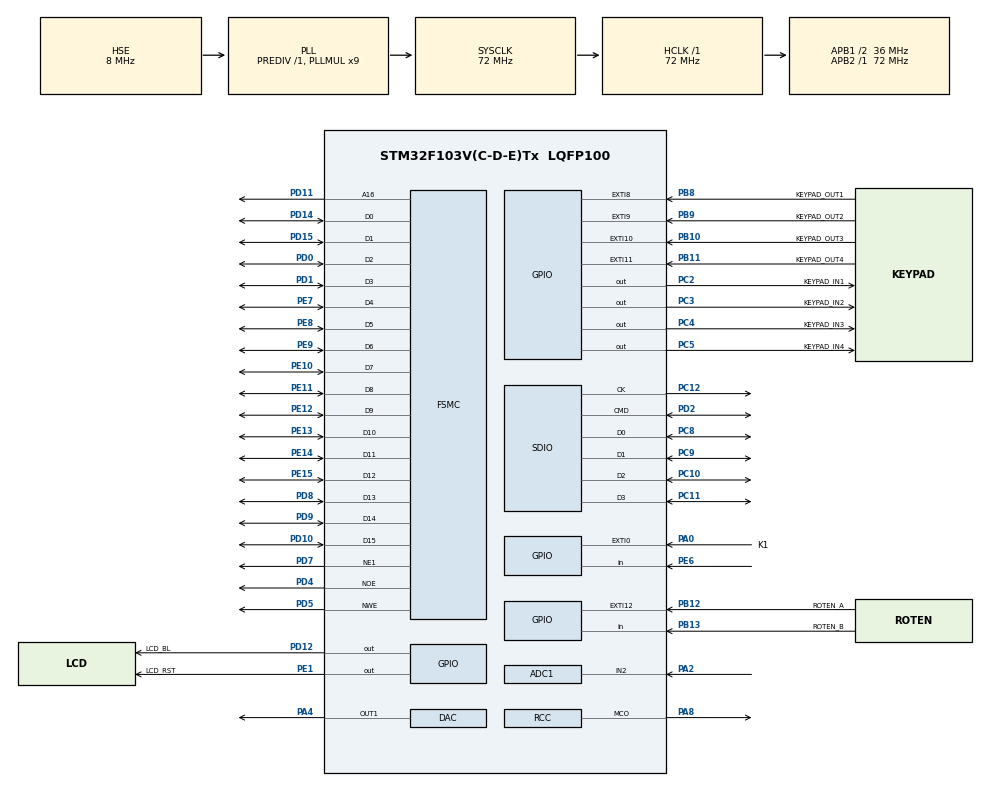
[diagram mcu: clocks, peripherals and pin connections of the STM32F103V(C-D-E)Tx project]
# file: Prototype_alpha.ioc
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ADC1.Channel-2\#ChannelRegularConversion=ADC_CHANNEL_2
ADC1.NbrOfConversionFlag=1
ADC1.Rank-2\#ChannelRegularConversion=1
ADC1.SamplingTime-2\#ChannelRegularConversion=ADC_SAMPLETIME_1CYCLE_5
ADC1.master=1
DAC.DAC_Trigger=DAC_TRIGGER_T6_TRGO
Dma.DAC_CH1.0.Direction=DMA_MEMORY_TO_PERIPH
Dma.DAC_CH1.0.Instance=DMA2_Channel3
Dma.DAC_CH1.0.MemDataAlignment=DMA_MDATAALIGN_HALFWORD
Dma.DAC_CH1.0.MemInc=DMA_MINC_ENABLE
Dma.DAC_CH1.0.Mode=DMA_NORMAL
Dma.DAC_CH1.0.PeriphDataAlignment=DMA_PDATAALIGN_HALFWORD
Dma.DAC_CH1.0.PeriphInc=DMA_PINC_DISABLE
Dma.DAC_CH1.0.Priority=DMA_PRIORITY_VERY_HIGH
Dma.Request0=DAC_CH1
FATFS.BSP.number=1
FATFS0.BSP.STBoard=false
FATFS0.BSP.api=Unknown
FATFS0.BSP.i2caddr=0
FATFS0.BSP.instance=PE6
FATFS0.BSP.ip=GPIO
FATFS0.BSP.mode=Input
FATFS0.BSP.name=Detect_SDIO
FATFS0.BSP.solution=PE6
Mcu.Family=STM32F1
Mcu.Name=STM32F103V(C-D-E)Tx
Mcu.Package=LQFP100
NVIC.DMA2_Channel3_IRQn=true\:0\:0\:false\:false\:true\:false\:true\:true
NVIC.EXTI0_IRQn=true\:0\:0\:false\:false\:true\:true\:true\:true
NVIC.EXTI15_10_IRQn=true\:0\:0\:false\:false\:true\:true\:true\:true
NVIC.EXTI9_5_IRQn=true\:0\:0\:false\:false\:true\:true\:true\:true
NVIC.PriorityGroup=NVIC_PRIORITYGROUP_4
NVIC.SDIO_IRQn=true\:0\:0\:false\:false\:true\:true\:true\:true
NVIC.TIM3_IRQn=true\:0\:0\:false\:false\:true\:true\:true\:true
NVIC.TIM6_IRQn=true\:0\:0\:false\:false\:true\:true\:true\:true
OSC_IN.Mode=HSE-External-Oscillator
OSC_IN.Signal=RCC_OSC_IN
OSC_OUT.Mode=HSE-External-Oscillator
OSC_OUT.Signal=RCC_OSC_OUT
PA0-WKUP.GPIO_Label=K1
PA0-WKUP.Signal=GPXTI0
PA13.Mode=Serial_Wire
PA13.Signal=SYS_JTMS-SWDIO
PA14.Mode=Serial_Wire
PA14.Signal=SYS_JTCK-SWCLK
PA2.Signal=ADCx_IN2
PA4.Signal=COMP_DAC1_group
PA8.Mode=Clock-out
PA8.Signal=RCC_MCO
PB10.GPIO_Label=KEYPAD_OUT3
PB10.Signal=GPXTI10
PB11.GPIO_Label=KEYPAD_OUT4
PB11.Signal=GPXTI11
PB12.GPIO_Label=ROTEN_A
PB12.GPIO_PuPd=GPIO_NOPULL
PB12.Signal=GPXTI12
PB13.GPIO_Label=ROTEN_B
PB13.Signal=GPIO_Input
PB8.GPIO_Label=KEYPAD_OUT1
PB8.Signal=GPXTI8
PB9.GPIO_Label=KEYPAD_OUT2
PB9.Signal=GPXTI9
PC10.Mode=SD_4_bits_Wide_bus
PC10.Signal=SDIO_D2
PC11.Mode=SD_4_bits_Wide_bus
PC11.Signal=SDIO_D3
PC12.Mode=SD_4_bits_Wide_bus
PC12.Signal=SDIO_CK
PC14-OSC32_IN.Mode=LSE-External-Oscillator
PC14-OSC32_IN.Signal=RCC_OSC32_IN
PC15-OSC32_OUT.Mode=LSE-External-Oscillator
PC15-OSC32_OUT.Signal=RCC_OSC32_OUT
PC2.GPIO_Label=KEYPAD_IN1
PC2.GPIO_Speed=GPIO_SPEED_FREQ_HIGH
PC2.PinState=GPIO_PIN_SET
PC2.Signal=GPIO_Output
PC3.GPIO_Label=KEYPAD_IN2
PC3.GPIO_Speed=GPIO_SPEED_FREQ_HIGH
PC3.PinState=GPIO_PIN_SET
PC3.Signal=GPIO_Output
PC4.GPIO_Label=KEYPAD_IN3
PC4.GPIO_Speed=GPIO_SPEED_FREQ_HIGH
PC4.PinState=GPIO_PIN_SET
PC4.Signal=GPIO_Output
PC5.GPIO_Label=KEYPAD_IN4
PC5.GPIO_Speed=GPIO_SPEED_FREQ_HIGH
PC5.PinState=GPIO_PIN_SET
PC5.Signal=GPIO_Output
PC8.Mode=SD_4_bits_Wide_bus
PC8.Signal=SDIO_D0
PC9.Mode=SD_4_bits_Wide_bus
PC9.Signal=SDIO_D1
PD0.Mode=16b-d1
PD0.Signal=FSMC_D2
PD1.Mode=16b-d1
PD1.Signal=FSMC_D3
PD10.Mode=16b-d1
PD10.Signal=FSMC_D15
PD11.Mode=A16_1
PD11.Signal=FSMC_A16
PD12.GPIO_Label=LCD_BL
PD12.GPIO_PuPd=GPIO_NOPULL
PD12.GPIO_Speed=GPIO_SPEED_FREQ_HIGH
PD12.Signal=GPIO_Output
PD14.Mode=16b-d1
PD14.Signal=FSMC_D0
PD15.Mode=16b-d1
PD15.Signal=FSMC_D1
PD2.Mode=SD_4_bits_Wide_bus
PD2.Signal=SDIO_CMD
PD4.Mode=Lcd1
PD4.Signal=FSMC_NOE
PD5.Mode=Lcd1
PD5.Signal=FSMC_NWE
PD7.Mode=NorPsramChipSelect1_1
PD7.Signal=FSMC_NE1
PD8.Mode=16b-d1
PD8.Signal=FSMC_D13
PD9.Mode=16b-d1
PD9.Signal=FSMC_D14
PE1.GPIO_Label=LCD_RST
PE1.GPIO_Speed=GPIO_SPEED_FREQ_HIGH
PE1.PinState=GPIO_PIN_RESET
PE1.Signal=GPIO_Output
PE10.Mode=16b-d1
PE10.Signal=FSMC_D7
PE11.Mode=16b-d1
PE11.Signal=FSMC_D8
PE12.Mode=16b-d1
PE12.Signal=FSMC_D9
PE13.Mode=16b-d1
PE13.Signal=FSMC_D10
PE14.Mode=16b-d1
PE14.Signal=FSMC_D11
PE15.Mode=16b-d1
PE15.Signal=FSMC_D12
PE6.GPIO_PuPd=GPIO_PULLDOWN
PE6.Signal=GPIO_Input
PE7.Mode=16b-d1
PE7.Signal=FSMC_D4
PE8.Mode=16b-d1
PE8.Signal=FSMC_D5
PE9.Mode=16b-d1
PE9.Signal=FSMC_D6
ProjectManager.HeapSize=0x200
ProjectManager.StackSize=0x400
ProjectManager.TargetToolchain=STM32CubeIDE
RCC.ADCPresc=RCC_ADCPCLK2_DIV6
RCC.AHBFreq_Value=72000000
RCC.APB1CLKDivider=RCC_HCLK_DIV2
RCC.APB1Freq_Value=36000000
RCC.APB1TimFreq_Value=72000000
RCC.APB2Freq_Value=72000000
RCC.APB2TimFreq_Value=72000000
RCC.HCLKFreq_Value=72000000
RCC.PLLMUL=RCC_PLL_MUL9
RCC.PLLSourceVirtual=RCC_PLLSOURCE_HSE
RCC.RCC_MCOSource=RCC_MCO1SOURCE_PLLCLK
RCC.SYSCLKFreq_VALUE=72000000
RCC.SYSCLKSource=RCC_SYSCLKSOURCE_PLLCLK
RCC.USBFreq_Value=72000000
SDIO.ClockDiv=16
SDIO.HardwareFlowControl=SDIO_HARDWARE_FLOW_CONTROL_DISABLE
SH.ADCx_IN2.0=ADC1_IN2,IN2
SH.COMP_DAC1_group.0=DAC_OUT1,DAC_OUT1
TIM2.Period=11999
TIM2.TIM_MasterOutputTrigger=TIM_TRGO_UPDATE
TIM2.TIM_MasterSlaveMode=TIM_MASTERSLAVEMODE_ENABLE
TIM3.AutoReloadPreload=TIM_AUTORELOAD_PRELOAD_ENABLE
TIM3.Period=99
TIM3.TIM_MasterOutputTrigger=TIM_TRGO_UPDATE
TIM6.Period=2999
TIM6.TIM_MasterOutputTrigger=TIM_TRGO_UPDATE
VP_FATFS_VS_SDIO.Mode=SDIO
VP_TIM2_VS_ClockSourceINT.Mode=Internal
VP_TIM3_VS_ClockSourceITR.Mode=TriggerSource_ITR1
VP_TIM3_VS_ControllerModeClock.Mode=Clock Mode
VP_TIM6_VS_ClockSourceINT.Mode=Enable_Timer
board=custom

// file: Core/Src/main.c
/* USER CODE BEGIN Header */
/**
  ******************************************************************************
  * @file           : main.c
  * @brief          : Main program body
  ******************************************************************************
  * @attention
  *
  * Copyright (c) 2023 STMicroelectronics.
  * All rights reserved.
  *
  * This software is licensed under terms that can be found in the LICENSE file
  * in the root directory of this software component.
  * If no LICENSE file comes with this software, it is provided AS-IS.
  *
  ******************************************************************************
  */
/* USER CODE END Header */
#include "main.h"
#include "fatfs.h"

/* USER CODE BEGIN Includes */
#include "stdio.h"
#include "string.h"
#include "lcd.h"
#include "gui.h"
#include "mariosfx.h"
#include <math.h>

struct WavHeader
{
	/* RIFF */
	char     riffChunkID[4];		// "RIFF"
	uint32_t riffChunkSize;			// (Size of whole file - 8) bytes, -8 for -(riffChunkID size + riffChunkSize size)
	char     riffFormat[4];			// "WAVE" should be in there for WAV file

	/* FORMAT */
	char     fmtChunkID[4];			// "FMT " *SPACE MUST BE INCLUDED IN THE END*
	uint32_t fmtChunkSize;			// (Size of FMT chunk - 8) bytes, -8 for (fmtChunkID size + fmtChunkSize size), should be 16
	uint16_t audioFmt;				// for PCM audio, 1, which is for WAV file
	uint16_t numChannels;			// number of channels of the audio
	uint32_t sampleRate;			// number of samples per a second, sampling frequency in Hz
	uint32_t byteRate;				// number of bytes for play per a second, (bitsPerSample * numChannels * sampleRate) bytes
	uint16_t blockAlign;			// size of samples per one set of channel play
	uint16_t bitsPerSample;			// sample size in bits

	/* DATA */
	char     dataChunkID[4];		// chunk ID tells computer the data chunk begins from here, "DATA"
	uint32_t dataChunkSize;			// size of actual audio wave data
};
/* USER CODE END Includes */

/* USER CODE BEGIN PM */
#define BUFFER_SIZE 		512

#define LCD_ERR_PAGE 		300
#define LCD_ERR_COLUMN 		0

#define PCM_AUDIO_FMT 		1

#define SYS_CLOCK 			72000000

/* SYSTEM ERROR CODES */
#define MOUNT_FAIL 			1
#define OPENDIR_FAIL 		2
#define NO_WAV_FOUND 		3
#define FILE_OPEN_FAIL 		4
#define HEADER_READ_FAIL 	5
#define RIFF_NOT_FOUND 		6
#define WRONG_AUDIOFMT 		7
#define DATA_NOT_FOUND 		8

/* USER CODE END PM */

 ADC_HandleTypeDef hadc1;

DAC_HandleTypeDef hdac;
DMA_HandleTypeDef hdma_dac_ch1;

SD_HandleTypeDef hsd;

TIM_HandleTypeDef htim2;
TIM_HandleTypeDef htim3;
TIM_HandleTypeDef htim6;

SRAM_HandleTypeDef hsram1;

/* USER CODE BEGIN PV */

/* KEYPAD */
GPIO_InitTypeDef 	GPIO_InitStructPrivate = {0};
uint8_t 			keyPressed = 0;
uint32_t 			currentTick;
uint32_t 			previousTick;

/* DMA */
uint8_t 			flag_dma_done;
static uint16_t 	dmaBuffer[2][BUFFER_SIZE];
static uint8_t 		dmaBufferIndexToUse = 0;

/* FILE I/O */
static uint8_t 		fileBuffer[BUFFER_SIZE];
UINT 				bytesRead;
uint32_t 			bytesRemained = 0;
uint32_t 			bytesRemainedMax;
FIL 				audioFile;
FIL 				sfxFile;
FATFS 				fatfs = {0};
FRESULT 			res;
DIR					dir;
FILINFO				fno;
char* 				filename;
uint32_t 			blockSize;

/* MAIN AUDIO CONTROL */
// Play & Pause //
uint8_t 			isMusicPlaying;

// Tempo Control //
uint8_t				tempoLevel = 5;
uint8_t				tempoLevelMax = 10;
float				tempoMultipliers[11] = {0.5f, 0.6f, 0.7f, 0.8f, 0.9f, 1.0f, 1.1f, 1.2f, 1.3f, 1.4f, 1.5f};
uint32_t 			originalSampleRate;

// Time Control //
uint8_t 			isMoveForward = 0;
uint8_t 			isMoveBackward = 0;
int16_t				timeShift = 0;
uint16_t			recentPin = 0;
uint32_t			audioLength;
uint32_t			audioCurrentTime;

// Filter Control //
uint8_t				isLPF = 0;
uint8_t				isHPF = 0;
uint8_t				filterFrequencyLevel = 7;
uint8_t				formerFreq = 7;
const uint8_t		filterFrequencyLevelMax = 15;
uint32_t			filterFrequencies[16] = {25, 50, 75, 100,
											 250, 500, 750, 1000,
											 2500, 5000, 7500, 10000,
											 12500, 15000, 17500, 20000};
double				alpha;
double				wc;
double				tau;

// SFX Control //
uint8_t 	isSFX = 0; // 0: OFF, 1: coin, 2: fireball, 3: kick, 4: stomp
uint8_t 	sfxBuffer[50000];
uint32_t 	sfxCounter = 0;
uint32_t 	sfxCounterMax;
uint8_t*	sfxPointer;

// Pitch Shift // jj
float Rd_P;
float Shift;
float MAX_SHIFT = 2.0f;
float MIN_SHIFT = 0.5;
/* USER CODE END PV */

void SystemClock_Config(void);
static void MX_GPIO_Init(void);
static void MX_SDIO_SD_Init(void);
static void MX_DMA_Init(void);
static void MX_FSMC_Init(void);
static void MX_DAC_Init(void);
static void MX_TIM6_Init(void);
static void MX_TIM2_Init(void);
static void MX_TIM3_Init(void);
static void MX_ADC1_Init(void);
/* USER CODE BEGIN PFP */
void SetSampleRate(uint32_t freq);
void ThrowSystemError(uint8_t errorCode);
/* USER CODE END PFP */

int main(void)
{

  /* MCU Configuration--------------------------------------------------------*/

  /* Reset of all peripherals, Initializes the Flash interface and the Systick. */
  HAL_Init();

  /* Configure the system clock */
  SystemClock_Config();

  /* Initialize all configured peripherals */
  MX_GPIO_Init();
  MX_SDIO_SD_Init();
  MX_DMA_Init();
  MX_FSMC_Init();
  MX_DAC_Init();
  MX_TIM6_Init();
  MX_FATFS_Init();
  MX_TIM2_Init();
  MX_TIM3_Init();
  MX_ADC1_Init();
  /* USER CODE BEGIN 2 */

  /* Peripheral Initialization */
  LCD_INIT();
  HAL_TIM_Base_Start(&htim6);
  HAL_DAC_Start(&hdac, DAC_CHANNEL_1);
  HAL_ADCEx_Calibration_Start(&hadc1);

  /* SD CARD Mount */
  res = f_mount(&fatfs, "", 1);
  if (res != FR_OK)
	  ThrowSystemError(MOUNT_FAIL);

  /* OPEN DIRECTORY */
  res = f_opendir(&dir, "");
  if (res != FR_OK)
	  ThrowSystemError(OPENDIR_FAIL);

  /* FIND WAV FILENAME */
  while(1)
  {
	  res = f_readdir(&dir, &fno);
	  if (res != FR_OK || fno.fname[0] == 0)
		  ThrowSystemError(NO_WAV_FOUND);

	  filename = fno.fname;
	  if ((strstr(filename, ".WAV") != 0) && (strcmp(filename, "SFX1.WAV") != 0))
		  break;
  }

  /* OPEN WAV FILE */
  res = f_open(&audioFile, filename, FA_READ);
  if (res != FR_OK)
	  ThrowSystemError(FILE_OPEN_FAIL);

  /* READ WAV HEADER */
  struct WavHeader header;
  res = f_read(&audioFile, &header, sizeof(struct WavHeader), &bytesRead);
  if (res != FR_OK)
	  ThrowSystemError(HEADER_READ_FAIL);

  /* CHECK WAV HEADER VALIDITY */
  if (strncmp(header.riffChunkID, "RIFF", 4) != 0) 	// 1. Check whether the header begins with "RIFF"
	  ThrowSystemError(RIFF_NOT_FOUND);

  if (header.audioFmt != PCM_AUDIO_FMT) 			// 2. Check whether the audio format is PCM
	  ThrowSystemError(WRONG_AUDIOFMT);

  if (strncmp(header.dataChunkID, "data", 4) != 0) 	// 3. check whether the data section begins with "data"
	  ThrowSystemError(DATA_NOT_FOUND);

  /* CALCULATE AUDIO LENGTH */
  audioLength = header.dataChunkSize / header.byteRate;
  audioCurrentTime = 0;

  /* Initialize Pitch Variables */
    Rd_P = 0.0;
    Shift = 1.0;

  /* INITIALIZE GUI */
  int32_t GUI_updateTick = HAL_GetTick();
  int32_t GUI_previousTick = HAL_GetTick();
  int32_t GUI_updatePeriod = 200;
  GUI_Init();
  GUI_SetPlaytime(audioCurrentTime, audioLength);
  GUI_SetFileName(filename);
  GUI_SetPlayStatus(MUSIC_PLAYING);
  GUI_SetTempo(tempoLevel, tempoLevelMax);
  GUI_SetPitch(Shift, MAX_SHIFT);

  /* SET AUDIO PLAYING FREQUENCY */
  SetSampleRate(header.sampleRate);
  originalSampleRate = header.sampleRate;

  /* CALCULATE CONSTANTS FOR FILTERS */
  wc = filterFrequencies[filterFrequencyLevel] * 2.0 * 3.141592; 	// 1. wc is angular cutting frequency of the filter
  tau = 1.0 / wc;													// 2. tau is time constant
  alpha = tau / (tau + (1.0 / originalSampleRate));					// 3. alpha is (tau / (tau + sampling time))
  	  	  	  	  	  	  	  	  	  	  	  	  	  	  	 	 	// (+) Filter Idea From: https://coding-robot.tistory.com/15

  /* INITIALIZE FILTER BUFFER */
  int32_t lpfBuffer = 0; 		// lpfBuffer contains result before one time.
  	  	  	  	  	  	  	  	// result[t] = alpha * result[t-1] + (1-alpha) * data[t]
  int32_t hpfBuffer[2] = {0,0};	// [0]: Result before one time [1]: Data before one time
  	  	  	  	  	  	  	  	// result[t] = alpha * (result[t-1] + data[t] - data[t-1])

  /* PLAY MUSIC */
  const uint8_t numChannels = (uint8_t)(header.numChannels);
  const uint8_t bytesPerSample = (uint8_t)(header.bitsPerSample / 8);

  // 0. Initialize variables
  flag_dma_done = 1; 					// DMA sets this flag to 1 if DMA usage is done
  dmaBufferIndexToUse = 0; 				// DMA buffer index for writing fileBuffer data. The other index DMA buffer is used for DMA transmission
  bytesRemained = header.dataChunkSize; // Remained size of data to play (in bytes)
  bytesRemainedMax = bytesRemained; 	// Total size of data section, used for preventing rewind below the point data begins
  isMusicPlaying = 1; 					// Music is now playing

  while(bytesRemained > 0)
  {
	  // 1. Calculate the size of block to load (in bytes)
	  blockSize = (bytesRemained < BUFFER_SIZE) ? bytesRemained : BUFFER_SIZE;

	  // 2. Load data to file buffer
	  res = f_read(&audioFile, fileBuffer, blockSize, &bytesRead);
	  if ((res != FR_OK) || (bytesRead == 0))
	  {
		  // YOU FAILED TO READ? TRY UNTIL IT SUCCESS!
		  while(res != FR_OK)
		  {
		  if (bytesRemained < BUFFER_SIZE*2)
			break;
		  DWORD audioFilePtr = f_tell(&audioFile);
		  f_close(&audioFile);
		  f_open(&audioFile, filename, FA_READ);
		  f_lseek(&audioFile, audioFilePtr);
		  res = f_read(&audioFile, fileBuffer, blockSize, &bytesRead);
		  }
	  }

	  // 3. Audio processing preparation
	  uint16_t numSamples = bytesRead / bytesPerSample / numChannels; 	// Total number of samples to process
	  int16_t* from = (int16_t*)fileBuffer; 							// from points to file buffer
	  uint16_t* to = dmaBuffer[dmaBufferIndexToUse]; 					// to points to dma buffer

	  // 4. Send audio data from file buffer to dma buffer
	  if (bytesPerSample == 1) // Case audio is 8-Bit
	  {
		  uint8_t* from8Bit = (uint8_t*)from; 	// from8Bit is a pointer to file buffer which reads 8-bit unsigned integer if *from8Bit is called.
		  for (int i = 0; i < numSamples; ++i)
		  {
			  uint16_t temp;
			  temp = *from8Bit; 		// (1) Get 8-bit unsigned data (The data of 8-bit WAV is unsigned)
			  temp = temp << 4; 		// (2) Change the data to 12-bit unsigned value by left arithmetic shift of 4
			  from8Bit += numChannels; 	// (3) Just the get the value of the first channel; skip the stereo channel data

			  // Pitch shift
			  Rd_P += Shift;
			  if (roundf(Rd_P) >= BUFFER_SIZE) Rd_P = 0.0f;

			  int RdPtr_Int = roundf(Rd_P);

			  int16_t Rd0 = ((*(fileBuffer + RdPtr_Int))<<4) - 2047;

			  temp = (Rd0) + 2047;

			  // Filter Processing //
			  int16_t tempSigned = (int16_t)temp; 									// Convert 12-bit data above in signed form, by giving -2047 offset
			  tempSigned -= 2047;

			  // Overwrite data by LPF value if LPF is on
			  if (isLPF)
			  {
				  double tempLPF = lpfBuffer * alpha + (1 - alpha) * tempSigned; 		// LPF calculation
				  lpfBuffer = (int32_t)tempLPF; 										// LPF buffer allocation

				  tempLPF += 2047;
				  temp = (uint16_t)tempLPF;
			  }
			  // Overwrite data by HPF value if HPF is on
			  else if (isHPF)
			  {
				  double tempHPF = alpha * (hpfBuffer[0] + tempSigned - hpfBuffer[1]);	// HPF calculation
				  hpfBuffer[0] = (int32_t)tempHPF; 										// HPF buffer allocation
				  hpfBuffer[1] = tempSigned;
				  tempHPF += 2047;
				  temp = (uint16_t)tempHPF;
			  }
			  // if sfx is on
			  if (isSFX)
			  {
				  if (sfxCounter > sfxCounterMax)
				  {
					  isSFX = 0;
					  sfxCounter = 0;
					  sfxPointer = 0;
				  }
				  else
				  {

					  int32_t sfxData = sfxPointer[sfxCounter];
					  sfxData = sfxData << 8;
					  sfxData = (tempSigned + sfxData);
					  sfxData += 32767;
					  sfxData = sfxData >> 4;
					  sfxData = sfxData & 0xfff;
					  sfxCounter++;

					  temp = (uint16_t)sfxData;

				  }
			  }

			  *to = temp; 				// (4) Send the modified 12-bit data (in (1) - (3)) to DMA buffer
			  to++;						// (5) 'to' now points to next element of DMA buffer
		  }
	  }
	  else // Case audio is 16-Bit
	  {
		  for (int i = 0; i < numSamples; ++i)
		  {
			 int32_t temp = *(from); 	// (1) Get 16 bit *signed* data (Range: -32767 ~ 32768) (The data of non 8-bit WAV is signed)
			 temp += 32767; 			// (2) Change data to 16 bit *unsigned* value by giving offset of +32767
			 temp = temp >> 4; 			// (3) Change data to *12-bit* unsigned value by removing 4 least significant bits
			 temp = temp & 0xfff; 		// (4) Just for insurance, set all the bits except for first 12-bit to be 0
			 from += numChannels; 		// (5) Just get the value of first channel; skip the stereo channel data

			// Filter System on 16-Bit is now on the progress //
			int32_t tempSigned = (int32_t)temp;
			tempSigned -= 2047;
			double tempLPF = lpfBuffer * alpha + (1 - alpha) * tempSigned;
			lpfBuffer = (int32_t)tempLPF;
			 if (isLPF)
			 {
				 tempLPF += 2047;
				 temp = (uint16_t)tempLPF;
			 }

			 *to = (uint16_t)temp; 		// (6) Send the modified 12-bit data (in (1) - (5)) to DMA buffer
			 to++;						// (7) 'to' now points to next element of DMA buffer
		  }
	  }
	  // 5. Wait until DMA, which is started in the previous loop, is done (When DMA is done, the DMA interrupt function changes flag to 0)
	  while(flag_dma_done == 0){};

	  // 6. If previous DMA is done, stop the DMA function for a new start
	  HAL_DAC_Stop_DMA(&hdac, DAC_CHANNEL_1);
	  flag_dma_done = 0;

	  // 7. If user paused music, wait until user play the music (isMusicPlaying is controlled by interrupt function)
	  while(!isMusicPlaying){};

	  // 8. Start DMA for the DMA buffer where new audio data is loaded in this loop
	  HAL_DAC_Start_DMA(&hdac, DAC_CHANNEL_1, (uint32_t*) dmaBuffer[dmaBufferIndexToUse], numSamples, DAC_ALIGN_12B_R);

	  // 9. Flip the dmaBufferIndexToUse (1 to 0 OR 0 to 1)
	  //    DMA Buffer section being used for DMA started above will not be used for loading data in the next loop.
	  dmaBufferIndexToUse = !dmaBufferIndexToUse;

	  // 10. As block size of data is read, reduce the bytesRemained
	  bytesRemained = bytesRemained - blockSize;

	  // 11. If user decided to move forward or backward, shift the file pointer
	  // isMoveForward and isMoveBackward is toggled by interrupt function
	  if (isMoveForward)
	  {
		  isMoveForward = 0;
		  bytesRemained -= 1024000;
	      f_lseek(&audioFile, f_tell(&audioFile) + 1024000); // 1024000 is just a notably big value to check time shift.
	  }
	  if (isMoveBackward)
	  {
		  isMoveBackward = 0;
		  bytesRemained += 1024000;
		  if (bytesRemained > bytesRemainedMax) // Prevent time backward shift below the point the music data begins
		  {
			  bytesRemained = bytesRemainedMax;
			  f_lseek(&audioFile, 1);
		  }
		  else
			  f_lseek(&audioFile, f_tell(&audioFile) - 1024000);
	  }
	  // Rotary Encoder Time Shift
	  if (timeShift != 0) {
		  bytesRemained -= (timeShift << 13);
		  if (bytesRemained > bytesRemainedMax) {
			  bytesRemained = bytesRemainedMax;
			  f_lseek(&audioFile, 1);
		  }
		  else
			  f_lseek(&audioFile, f_tell(&audioFile) + (timeShift << 13));
		  if (timeShift > 0)
			  timeShift--;
		  else
			  timeShift++;
	  }

	  // 12. Update GUI periodically
	  GUI_updateTick = HAL_GetTick();
	  if (GUI_updateTick - GUI_previousTick > GUI_updatePeriod) // One update per 0.2 second
	  {
		  // Put any non-interrupt GUI functions inside here //
		  audioCurrentTime = (header.dataChunkSize - bytesRemained) / header.byteRate;
		  GUI_SetPlaytime(audioCurrentTime, audioLength);
		  GUI_previousTick = GUI_updateTick;
		  HAL_ADC_Start(&hadc1);
		  HAL_ADC_PollForConversion(&hadc1, 100);
		  uint32_t frequencyCheck = HAL_ADC_GetValue(&hadc1);
		  filterFrequencyLevel = frequencyCheck >> 8;
		  if (formerFreq != filterFrequencyLevel) {
			  wc = filterFrequencies[filterFrequencyLevel] * 2.0 * 3.141592;
		  	  tau = 1.0 / wc;
		  	  alpha = tau / (tau + (1.0/originalSampleRate));
		  	  formerFreq = filterFrequencyLevel;
		  }
		  if (isLPF)
			  GUI_SetFilterFreq(NONE, filterFrequencies[filterFrequencyLevel]);
		  else if (isHPF)
			  GUI_SetFilterFreq(filterFrequencies[filterFrequencyLevel], NONE);
	  }

	  // 13. Check for loop's end condition, when the music is all played
	  if (bytesRemained < BUFFER_SIZE)
		  break;
  }

  /* WAIT FOR LAST DMA */
  while(flag_dma_done == 0){};
  HAL_DAC_Stop_DMA(&hdac, DAC_CHANNEL_1);

  /* JUST FOR DEBUG */
  LCD_DrawString(0, 250, "DONE!");

  // FINISH FILESYSTEM
  f_close(&audioFile);
  f_closedir(&dir);
  /* USER CODE END 2 */

  /* Infinite loop */
  while (1)
  {

  }
}

void SystemClock_Config(void)
{
  RCC_OscInitTypeDef RCC_OscInitStruct = {0};
  RCC_ClkInitTypeDef RCC_ClkInitStruct = {0};
  RCC_PeriphCLKInitTypeDef PeriphClkInit = {0};

  /** Initializes the RCC Oscillators according to the specified parameters
  * in the RCC_OscInitTypeDef structure.
  */
  RCC_OscInitStruct.OscillatorType = RCC_OSCILLATORTYPE_HSE;
  RCC_OscInitStruct.HSEState = RCC_HSE_ON;
  RCC_OscInitStruct.HSEPredivValue = RCC_HSE_PREDIV_DIV1;
  RCC_OscInitStruct.HSIState = RCC_HSI_ON;
  RCC_OscInitStruct.PLL.PLLState = RCC_PLL_ON;
  RCC_OscInitStruct.PLL.PLLSource = RCC_PLLSOURCE_HSE;
  RCC_OscInitStruct.PLL.PLLMUL = RCC_PLL_MUL9;
  if (HAL_RCC_OscConfig(&RCC_OscInitStruct) != HAL_OK)
  {
    Error_Handler();
  }

  /** Initializes the CPU, AHB and APB buses clocks
  */
  RCC_ClkInitStruct.ClockType = RCC_CLOCKTYPE_HCLK|RCC_CLOCKTYPE_SYSCLK
                              |RCC_CLOCKTYPE_PCLK1|RCC_CLOCKTYPE_PCLK2;
  RCC_ClkInitStruct.SYSCLKSource = RCC_SYSCLKSOURCE_PLLCLK;
  RCC_ClkInitStruct.AHBCLKDivider = RCC_SYSCLK_DIV1;
  RCC_ClkInitStruct.APB1CLKDivider = RCC_HCLK_DIV2;
  RCC_ClkInitStruct.APB2CLKDivider = RCC_HCLK_DIV1;

  if (HAL_RCC_ClockConfig(&RCC_ClkInitStruct, FLASH_LATENCY_2) != HAL_OK)
  {
    Error_Handler();
  }
  PeriphClkInit.PeriphClockSelection = RCC_PERIPHCLK_ADC;
  PeriphClkInit.AdcClockSelection = RCC_ADCPCLK2_DIV6;
  if (HAL_RCCEx_PeriphCLKConfig(&PeriphClkInit) != HAL_OK)
  {
    Error_Handler();
  }
  HAL_RCC_MCOConfig(RCC_MCO, RCC_MCO1SOURCE_PLLCLK, RCC_MCODIV_1);
}

static void MX_ADC1_Init(void)
{

  ADC_ChannelConfTypeDef sConfig = {0};

  /** Common config
  */
  hadc1.Instance = ADC1;
  hadc1.Init.ScanConvMode = ADC_SCAN_DISABLE;
  hadc1.Init.ContinuousConvMode = DISABLE;
  hadc1.Init.DiscontinuousConvMode = DISABLE;
  hadc1.Init.ExternalTrigConv = ADC_SOFTWARE_START;
  hadc1.Init.DataAlign = ADC_DATAALIGN_RIGHT;
  hadc1.Init.NbrOfConversion = 1;
  if (HAL_ADC_Init(&hadc1) != HAL_OK)
  {
    Error_Handler();
  }

  /** Configure Regular Channel
  */
  sConfig.Channel = ADC_CHANNEL_2;
  sConfig.Rank = ADC_REGULAR_RANK_1;
  sConfig.SamplingTime = ADC_SAMPLETIME_1CYCLE_5;
  if (HAL_ADC_ConfigChannel(&hadc1, &sConfig) != HAL_OK)
  {
    Error_Handler();
  }

}

static void MX_DAC_Init(void)
{

  DAC_ChannelConfTypeDef sConfig = {0};

  /** DAC Initialization
  */
  hdac.Instance = DAC;
  if (HAL_DAC_Init(&hdac) != HAL_OK)
  {
    Error_Handler();
  }

  /** DAC channel OUT1 config
  */
  sConfig.DAC_Trigger = DAC_TRIGGER_T6_TRGO;
  sConfig.DAC_OutputBuffer = DAC_OUTPUTBUFFER_ENABLE;
  if (HAL_DAC_ConfigChannel(&hdac, &sConfig, DAC_CHANNEL_1) != HAL_OK)
  {
    Error_Handler();
  }

}

static void MX_SDIO_SD_Init(void)
{

  hsd.Instance = SDIO;
  hsd.Init.ClockEdge = SDIO_CLOCK_EDGE_RISING;
  hsd.Init.ClockBypass = SDIO_CLOCK_BYPASS_DISABLE;
  hsd.Init.ClockPowerSave = SDIO_CLOCK_POWER_SAVE_DISABLE;
  hsd.Init.BusWide = SDIO_BUS_WIDE_1B;
  hsd.Init.HardwareFlowControl = SDIO_HARDWARE_FLOW_CONTROL_DISABLE;
  hsd.Init.ClockDiv = 16;

}

static void MX_TIM2_Init(void)
{

  TIM_ClockConfigTypeDef sClockSourceConfig = {0};
  TIM_MasterConfigTypeDef sMasterConfig = {0};

  htim2.Instance = TIM2;
  htim2.Init.Prescaler = 0;
  htim2.Init.CounterMode = TIM_COUNTERMODE_UP;
  htim2.Init.Period = 11999;
  htim2.Init.ClockDivision = TIM_CLOCKDIVISION_DIV1;
  htim2.Init.AutoReloadPreload = TIM_AUTORELOAD_PRELOAD_DISABLE;
  if (HAL_TIM_Base_Init(&htim2) != HAL_OK)
  {
    Error_Handler();
  }
  sClockSourceConfig.ClockSource = TIM_CLOCKSOURCE_INTERNAL;
  if (HAL_TIM_ConfigClockSource(&htim2, &sClockSourceConfig) != HAL_OK)
  {
    Error_Handler();
  }
  sMasterConfig.MasterOutputTrigger = TIM_TRGO_UPDATE;
  sMasterConfig.MasterSlaveMode = TIM_MASTERSLAVEMODE_ENABLE;
  if (HAL_TIMEx_MasterConfigSynchronization(&htim2, &sMasterConfig) != HAL_OK)
  {
    Error_Handler();
  }

}

static void MX_TIM3_Init(void)
{

  TIM_SlaveConfigTypeDef sSlaveConfig = {0};
  TIM_MasterConfigTypeDef sMasterConfig = {0};

  htim3.Instance = TIM3;
  htim3.Init.Prescaler = 0;
  htim3.Init.CounterMode = TIM_COUNTERMODE_UP;
  htim3.Init.Period = 99;
  htim3.Init.ClockDivision = TIM_CLOCKDIVISION_DIV1;
  htim3.Init.AutoReloadPreload = TIM_AUTORELOAD_PRELOAD_ENABLE;
  if (HAL_TIM_Base_Init(&htim3) != HAL_OK)
  {
    Error_Handler();
  }
  sSlaveConfig.SlaveMode = TIM_SLAVEMODE_EXTERNAL1;
  sSlaveConfig.InputTrigger = TIM_TS_ITR1;
  if (HAL_TIM_SlaveConfigSynchro(&htim3, &sSlaveConfig) != HAL_OK)
  {
    Error_Handler();
  }
  sMasterConfig.MasterOutputTrigger = TIM_TRGO_UPDATE;
  sMasterConfig.MasterSlaveMode = TIM_MASTERSLAVEMODE_DISABLE;
  if (HAL_TIMEx_MasterConfigSynchronization(&htim3, &sMasterConfig) != HAL_OK)
  {
    Error_Handler();
  }

}

static void MX_TIM6_Init(void)
{

  TIM_MasterConfigTypeDef sMasterConfig = {0};

  htim6.Instance = TIM6;
  htim6.Init.Prescaler = 0;
  htim6.Init.CounterMode = TIM_COUNTERMODE_UP;
  htim6.Init.Period = 2999;
  htim6.Init.AutoReloadPreload = TIM_AUTORELOAD_PRELOAD_DISABLE;
  if (HAL_TIM_Base_Init(&htim6) != HAL_OK)
  {
    Error_Handler();
  }
  sMasterConfig.MasterOutputTrigger = TIM_TRGO_UPDATE;
  sMasterConfig.MasterSlaveMode = TIM_MASTERSLAVEMODE_DISABLE;
  if (HAL_TIMEx_MasterConfigSynchronization(&htim6, &sMasterConfig) != HAL_OK)
  {
    Error_Handler();
  }

}

static void MX_DMA_Init(void)
{

  /* DMA controller clock enable */
  __HAL_RCC_DMA2_CLK_ENABLE();

  /* DMA interrupt init */
  /* DMA2_Channel3_IRQn interrupt configuration */
  HAL_NVIC_SetPriority(DMA2_Channel3_IRQn, 0, 0);
  HAL_NVIC_EnableIRQ(DMA2_Channel3_IRQn);

}

static void MX_GPIO_Init(void)
{
  GPIO_InitTypeDef GPIO_InitStruct = {0};

  /* GPIO Ports Clock Enable */
  __HAL_RCC_GPIOE_CLK_ENABLE();
  __HAL_RCC_GPIOC_CLK_ENABLE();
  __HAL_RCC_GPIOA_CLK_ENABLE();
  __HAL_RCC_GPIOB_CLK_ENABLE();
  __HAL_RCC_GPIOD_CLK_ENABLE();

  /*Configure GPIO pin Output Level */
  HAL_GPIO_WritePin(GPIOC, KEYPAD_IN1_Pin|KEYPAD_IN2_Pin|KEYPAD_IN3_Pin|KEYPAD_IN4_Pin, GPIO_PIN_SET);

  /*Configure GPIO pin Output Level */
  HAL_GPIO_WritePin(LCD_BL_GPIO_Port, LCD_BL_Pin, GPIO_PIN_RESET);

  /*Configure GPIO pin Output Level */
  HAL_GPIO_WritePin(LCD_RST_GPIO_Port, LCD_RST_Pin, GPIO_PIN_RESET);

  /*Configure GPIO pin : PE6 */
  GPIO_InitStruct.Pin = GPIO_PIN_6;
  GPIO_InitStruct.Mode = GPIO_MODE_INPUT;
  GPIO_InitStruct.Pull = GPIO_PULLDOWN;
  HAL_GPIO_Init(GPIOE, &GPIO_InitStruct);

  /*Configure GPIO pins : KEYPAD_IN1_Pin KEYPAD_IN2_Pin KEYPAD_IN3_Pin KEYPAD_IN4_Pin */
  GPIO_InitStruct.Pin = KEYPAD_IN1_Pin|KEYPAD_IN2_Pin|KEYPAD_IN3_Pin|KEYPAD_IN4_Pin;
  GPIO_InitStruct.Mode = GPIO_MODE_OUTPUT_PP;
  GPIO_InitStruct.Pull = GPIO_NOPULL;
  GPIO_InitStruct.Speed = GPIO_SPEED_FREQ_HIGH;
  HAL_GPIO_Init(GPIOC, &GPIO_InitStruct);

  /*Configure GPIO pin : K1_Pin */
  GPIO_InitStruct.Pin = K1_Pin;
  GPIO_InitStruct.Mode = GPIO_MODE_IT_RISING;
  GPIO_InitStruct.Pull = GPIO_NOPULL;
  HAL_GPIO_Init(K1_GPIO_Port, &GPIO_InitStruct);

  /*Configure GPIO pins : KEYPAD_OUT3_Pin KEYPAD_OUT4_Pin ROTEN_A_Pin KEYPAD_OUT1_Pin
                           KEYPAD_OUT2_Pin */
  GPIO_InitStruct.Pin = KEYPAD_OUT3_Pin|KEYPAD_OUT4_Pin|ROTEN_A_Pin|KEYPAD_OUT1_Pin
                          |KEYPAD_OUT2_Pin;
  GPIO_InitStruct.Mode = GPIO_MODE_IT_RISING;
  GPIO_InitStruct.Pull = GPIO_NOPULL;
  HAL_GPIO_Init(GPIOB, &GPIO_InitStruct);

  /*Configure GPIO pin : ROTEN_B_Pin */
  GPIO_InitStruct.Pin = ROTEN_B_Pin;
  GPIO_InitStruct.Mode = GPIO_MODE_INPUT;
  GPIO_InitStruct.Pull = GPIO_NOPULL;
  HAL_GPIO_Init(ROTEN_B_GPIO_Port, &GPIO_InitStruct);

  /*Configure GPIO pin : LCD_BL_Pin */
  GPIO_InitStruct.Pin = LCD_BL_Pin;
  GPIO_InitStruct.Mode = GPIO_MODE_OUTPUT_PP;
  GPIO_InitStruct.Pull = GPIO_NOPULL;
  GPIO_InitStruct.Speed = GPIO_SPEED_FREQ_HIGH;
  HAL_GPIO_Init(LCD_BL_GPIO_Port, &GPIO_InitStruct);

  /*Configure GPIO pin : PA8 */
  GPIO_InitStruct.Pin = GPIO_PIN_8;
  GPIO_InitStruct.Mode = GPIO_MODE_AF_PP;
  GPIO_InitStruct.Speed = GPIO_SPEED_FREQ_LOW;
  HAL_GPIO_Init(GPIOA, &GPIO_InitStruct);

  /*Configure GPIO pin : LCD_RST_Pin */
  GPIO_InitStruct.Pin = LCD_RST_Pin;
  GPIO_InitStruct.Mode = GPIO_MODE_OUTPUT_PP;
  GPIO_InitStruct.Pull = GPIO_NOPULL;
  GPIO_InitStruct.Speed = GPIO_SPEED_FREQ_HIGH;
  HAL_GPIO_Init(LCD_RST_GPIO_Port, &GPIO_InitStruct);

  /* EXTI interrupt init*/
  HAL_NVIC_SetPriority(EXTI0_IRQn, 0, 0);
  HAL_NVIC_EnableIRQ(EXTI0_IRQn);

  HAL_NVIC_SetPriority(EXTI9_5_IRQn, 0, 0);
  HAL_NVIC_EnableIRQ(EXTI9_5_IRQn);

  HAL_NVIC_SetPriority(EXTI15_10_IRQn, 0, 0);
  HAL_NVIC_EnableIRQ(EXTI15_10_IRQn);

}

/* FSMC initialization function */
static void MX_FSMC_Init(void)
{

  FSMC_NORSRAM_TimingTypeDef Timing = {0};

  /** Perform the SRAM1 memory initialization sequence
  */
  hsram1.Instance = FSMC_NORSRAM_DEVICE;
  hsram1.Extended = FSMC_NORSRAM_EXTENDED_DEVICE;
  /* hsram1.Init */
  hsram1.Init.NSBank = FSMC_NORSRAM_BANK1;
  hsram1.Init.DataAddressMux = FSMC_DATA_ADDRESS_MUX_DISABLE;
  hsram1.Init.MemoryType = FSMC_MEMORY_TYPE_SRAM;
  hsram1.Init.MemoryDataWidth = FSMC_NORSRAM_MEM_BUS_WIDTH_16;
  hsram1.Init.BurstAccessMode = FSMC_BURST_ACCESS_MODE_DISABLE;
  hsram1.Init.WaitSignalPolarity = FSMC_WAIT_SIGNAL_POLARITY_LOW;
  hsram1.Init.WrapMode = FSMC_WRAP_MODE_DISABLE;
  hsram1.Init.WaitSignalActive = FSMC_WAIT_TIMING_BEFORE_WS;
  hsram1.Init.WriteOperation = FSMC_WRITE_OPERATION_ENABLE;
  hsram1.Init.WaitSignal = FSMC_WAIT_SIGNAL_DISABLE;
  hsram1.Init.ExtendedMode = FSMC_EXTENDED_MODE_DISABLE;
  hsram1.Init.AsynchronousWait = FSMC_ASYNCHRONOUS_WAIT_DISABLE;
  hsram1.Init.WriteBurst = FSMC_WRITE_BURST_DISABLE;
  /* Timing */
  Timing.AddressSetupTime = 15;
  Timing.AddressHoldTime = 15;
  Timing.DataSetupTime = 255;
  Timing.BusTurnAroundDuration = 15;
  Timing.CLKDivision = 16;
  Timing.DataLatency = 17;
  Timing.AccessMode = FSMC_ACCESS_MODE_A;
  /* ExtTiming */

  if (HAL_SRAM_Init(&hsram1, &Timing, NULL) != HAL_OK)
  {
    Error_Handler( );
  }

  /** Disconnect NADV
  */

  __HAL_AFIO_FSMCNADV_DISCONNECTED();

}

/* USER CODE BEGIN 4 */

/* SET SAMPLE RATE */
void SetSampleRate(uint32_t freq)
{
	uint16_t period = (SYS_CLOCK / freq) - 1;
	htim6.Instance = TIM6;
	htim6.Init.Prescaler = 0;
	htim6.Init.CounterMode = TIM_COUNTERMODE_UP;
	htim6.Init.Period = period;
	htim6.Init.AutoReloadPreload = TIM_AUTORELOAD_PRELOAD_DISABLE;
	HAL_TIM_Base_Init(&htim6);
}

/* JUST FUNCTION TO CHECK ERROR CODE */
void ThrowSystemError(uint8_t errorCode)
{
	char errorMessage[23];
	sprintf(errorMessage, "SYSTEM ERROR(CODE: %d)", errorCode);
	LCD_INIT();
	LCD_DrawString(0, 300, errorMessage);

	if (errorCode > 4)
		f_close(&audioFile);

	if (errorCode > 2)
		f_closedir(&dir);

	while(1){};
}

/* FUNCTION CALLED WHEN DMA IS FINISHED */
void HAL_DAC_ConvCpltCallbackCh1(DAC_HandleTypeDef* hdac)
{
	flag_dma_done = 1;
}

/* EXTERNAL CONTROL BY INTERRUPT */
void HAL_GPIO_EXTI_Callback(uint16_t GPIO_Pin)
{
	// IS ROTARY ENCODER INPUT
	if (GPIO_Pin == GPIO_PIN_12) {
		if (HAL_GPIO_ReadPin(GPIOB, GPIO_PIN_13) == GPIO_PIN_SET)
		{
			if (timeShift <= 0)
				timeShift -= 1;
		}
		else if (HAL_GPIO_ReadPin(GPIOB, GPIO_PIN_13) == GPIO_PIN_RESET)
		{
			if (timeShift >= 0)
				timeShift += 1;
		}
		return;
	}
	// IS KEYPAD INPUT
	/* KEYPAD CONNECTION:
	 * 1, 2, 3, 4 -> KEYPAD_IN1, IN2, IN3, IN4
	 * 5, 6, 7, 8 -> KEYPAD_OUT1, OUT2, OUT3, OUT4
	 */
	currentTick = HAL_GetTick();
	if (currentTick - previousTick < 200)
		return;

    GPIO_InitStructPrivate.Pin = GPIO_PIN_8|GPIO_PIN_9|GPIO_PIN_10|GPIO_PIN_11;
    GPIO_InitStructPrivate.Mode = GPIO_MODE_INPUT;
    GPIO_InitStructPrivate.Pull = GPIO_NOPULL;
    GPIO_InitStructPrivate.Speed = GPIO_SPEED_FREQ_LOW;
    HAL_GPIO_Init(GPIOB, &GPIO_InitStructPrivate);

    HAL_GPIO_WritePin(GPIOC, GPIO_PIN_2, GPIO_PIN_SET);
    HAL_GPIO_WritePin(GPIOC, GPIO_PIN_3, GPIO_PIN_RESET);
    HAL_GPIO_WritePin(GPIOC, GPIO_PIN_4, GPIO_PIN_RESET);
    HAL_GPIO_WritePin(GPIOC, GPIO_PIN_5, GPIO_PIN_RESET);
    if(GPIO_Pin == GPIO_PIN_8 && HAL_GPIO_ReadPin(GPIOB, GPIO_PIN_8))
    {
    	/* KEYPAD K1 */
    	// Play/Pause Button
      keyPressed = 1;
      LCD_DrawChar(100, 250, 'A');
      isMusicPlaying = !isMusicPlaying;
      GUI_SetPlayStatus(isMusicPlaying);
    }
    else if(GPIO_Pin == GPIO_PIN_9 && HAL_GPIO_ReadPin(GPIOB, GPIO_PIN_9))
    {
      keyPressed = 2;
      LCD_DrawChar(100, 250, 'B');
    }
    else if(GPIO_Pin == GPIO_PIN_10 && HAL_GPIO_ReadPin(GPIOB, GPIO_PIN_10))
    {
    	/* KEYPAD K3 */
    	// Tempo Up Button
      LCD_DrawChar(100, 250, 'C');
      if (tempoLevel == tempoLevelMax)
    	  return;

      tempoLevel++;
      GUI_SetTempo(tempoLevel, tempoLevelMax);
      SetSampleRate(tempoMultipliers[tempoLevel] * originalSampleRate);
    }
    else if(GPIO_Pin == GPIO_PIN_11 && HAL_GPIO_ReadPin(GPIOB, GPIO_PIN_11))
    {
    	/* KEYPAD K4 */
    	// Tempo Down Button
      LCD_DrawChar(100, 250, 'D');
      if (tempoLevel == 0)
    	  return;

      tempoLevel--;
      GUI_SetTempo(tempoLevel, tempoLevelMax);
      SetSampleRate(tempoMultipliers[tempoLevel] * originalSampleRate);
    }

    HAL_GPIO_WritePin(GPIOC, GPIO_PIN_2, GPIO_PIN_RESET);
    HAL_GPIO_WritePin(GPIOC, GPIO_PIN_3, GPIO_PIN_SET);
    HAL_GPIO_WritePin(GPIOC, GPIO_PIN_4, GPIO_PIN_RESET);
    HAL_GPIO_WritePin(GPIOC, GPIO_PIN_5, GPIO_PIN_RESET);
    if(GPIO_Pin == GPIO_PIN_8 && HAL_GPIO_ReadPin(GPIOB, GPIO_PIN_8))
    {
      keyPressed = 5;
      LCD_DrawChar(100, 250, 'E');
      isMoveForward = 1;
    }
    else if(GPIO_Pin == GPIO_PIN_9 && HAL_GPIO_ReadPin(GPIOB, GPIO_PIN_9))
    {
      keyPressed = 6;
      LCD_DrawChar(100, 250, 'F');
      isMoveBackward = 1;
    }
    else if(GPIO_Pin == GPIO_PIN_10 && HAL_GPIO_ReadPin(GPIOB, GPIO_PIN_10))
    {
    	/* KEYPAD K7 */
    	// High Pass Filter Toggle Button
      keyPressed = 7;
      LCD_DrawChar(100, 250, 'G');
      isHPF = !isHPF;
      if (isHPF)
      {
    	  if (isLPF) isLPF = 0;
    	  GUI_SetFilterStatus(HPF);
    	  GUI_SetFilterFreq(NONE, filterFrequencies[filterFrequencyLevel]);
      }
      else
      {
    	  GUI_SetFilterStatus(-1);
    	  GUI_SetFilterFreq(NONE, NONE);
      }
    }
    else if(GPIO_Pin == GPIO_PIN_11 && HAL_GPIO_ReadPin(GPIOB, GPIO_PIN_11))
    {
    	/* KEYPAD K8 */
    	// Low Pass Filter Toggle Button
      keyPressed = 8;
      LCD_DrawChar(100, 250, 'H');
      isLPF = !isLPF;
      if (isLPF)
      {
    	  if (isHPF) isHPF = 0;
    	  GUI_SetFilterStatus(LPF);
      	  GUI_SetFilterFreq(filterFrequencies[filterFrequencyLevel], NONE);
      }
      else
      {
    	  GUI_SetFilterStatus(-1);
    	  GUI_SetFilterFreq(NONE, NONE);
      }
    }

    HAL_GPIO_WritePin(GPIOC, GPIO_PIN_2, GPIO_PIN_RESET);
    HAL_GPIO_WritePin(GPIOC, GPIO_PIN_3, GPIO_PIN_RESET);
    HAL_GPIO_WritePin(GPIOC, GPIO_PIN_4, GPIO_PIN_SET);
    HAL_GPIO_WritePin(GPIOC, GPIO_PIN_5, GPIO_PIN_RESET);
    if(GPIO_Pin == GPIO_PIN_8 && HAL_GPIO_ReadPin(GPIOB, GPIO_PIN_8))
    {
      keyPressed = 9;
      LCD_DrawChar(100, 250, 'I');
      if (isSFX)
    	  return;
      isSFX = 3;
      sfxCounter = 0;
      sfxCounterMax = sfxLength[isSFX-1];
      sfxPointer = kickSFX;
    }
    else if(GPIO_Pin == GPIO_PIN_9 && HAL_GPIO_ReadPin(GPIOB, GPIO_PIN_9))
    {
      keyPressed = 10;
      LCD_DrawChar(100, 250, 'J');
      if (isSFX)
    	  return;
      isSFX = 4;
      sfxCounter = 0;
      sfxCounterMax = sfxLength[isSFX-1];
      sfxPointer = stompSFX;
    }
    else if(GPIO_Pin == GPIO_PIN_10 && HAL_GPIO_ReadPin(GPIOB, GPIO_PIN_10))
    {
      keyPressed = 11; //K11 Pressed Pitch Down
      LCD_DrawChar(100, 250, 'K');

      if(Shift <= MIN_SHIFT){
    	  return;
      }

      Shift -= 0.1;

      GUI_SetPitch(Shift*100, MAX_SHIFT*100);
    }
    else if(GPIO_Pin == GPIO_PIN_11 && HAL_GPIO_ReadPin(GPIOB, GPIO_PIN_11))
    {
    	/* KEYPAD K12 */
    	// Filter Frequency Up Button
      keyPressed = 12;
      LCD_DrawChar(100, 250, 'L');
      if (!isLPF && !isHPF)
    	  return;
      if (filterFrequencyLevel)
      {
    	  filterFrequencyLevel--;
		  wc = filterFrequencies[filterFrequencyLevel] * 2.0 * 3.141592;
		  tau = 1.0 / wc;
		  alpha = tau / (tau + (1.0/originalSampleRate));
		  if (isLPF)
			  GUI_SetFilterFreq(filterFrequencies[filterFrequencyLevel], NONE);
		  else
			  GUI_SetFilterFreq(NONE, filterFrequencies[filterFrequencyLevel]);
      }
    }

    HAL_GPIO_WritePin(GPIOC, GPIO_PIN_2, GPIO_PIN_RESET);
    HAL_GPIO_WritePin(GPIOC, GPIO_PIN_3, GPIO_PIN_RESET);
    HAL_GPIO_WritePin(GPIOC, GPIO_PIN_4, GPIO_PIN_RESET);
    HAL_GPIO_WritePin(GPIOC, GPIO_PIN_5, GPIO_PIN_SET);
    if(GPIO_Pin == GPIO_PIN_8 && HAL_GPIO_ReadPin(GPIOB, GPIO_PIN_8))
    {
      keyPressed = 13;
      LCD_DrawChar(100, 250, 'M');
      if (isSFX)
    	  return;
      isSFX = 1;
      sfxCounter = 0;
      sfxCounterMax = sfxLength[isSFX-1];
      sfxPointer = coinSFX;
    }
    else if(GPIO_Pin == GPIO_PIN_9 && HAL_GPIO_ReadPin(GPIOB, GPIO_PIN_9))
    {
      keyPressed = 14;
      LCD_DrawChar(100, 250, 'N');
      if (isSFX)
    	  return;
      isSFX = 2;
      sfxCounter = 0;
      sfxCounterMax = sfxLength[isSFX-1];
      sfxPointer = fireballSFX;
    }
    else if(GPIO_Pin == GPIO_PIN_10 && HAL_GPIO_ReadPin(GPIOB, GPIO_PIN_10))
    {
    	/* KEYPAD K15 */
    	// Pitch shift UP
      keyPressed = 15;
      LCD_DrawChar(100, 250, 'O');
      if(Shift >= MAX_SHIFT){
          	  return;
      }

      Shift += 0.1;

      GUI_SetPitch(Shift*100, MAX_SHIFT*100);

    }
    else if(GPIO_Pin == GPIO_PIN_11 && HAL_GPIO_ReadPin(GPIOB, GPIO_PIN_11))
    {
    	/* KEYPAD K16 */
    	// Filter Frequency Down Button
      keyPressed = 16;
      LCD_DrawChar(100, 250, 'P');
      if (!isLPF && !isHPF)
    	  return;
      if (filterFrequencyLevel < filterFrequencyLevelMax)
      {
    	  filterFrequencyLevel++;
		  wc = filterFrequencies[filterFrequencyLevel] * 2.0 * 3.141592;
		  tau = 1.0 / wc;
		  alpha = tau / (tau + (1.0/originalSampleRate));
		  if (isLPF)
			  GUI_SetFilterFreq(filterFrequencies[filterFrequencyLevel], NONE);
		  else
			  GUI_SetFilterFreq(NONE, filterFrequencies[filterFrequencyLevel]);
      }
    }

    HAL_GPIO_WritePin(GPIOC, GPIO_PIN_2, GPIO_PIN_SET);
    HAL_GPIO_WritePin(GPIOC, GPIO_PIN_3, GPIO_PIN_SET);
    HAL_GPIO_WritePin(GPIOC, GPIO_PIN_4, GPIO_PIN_SET);
    HAL_GPIO_WritePin(GPIOC, GPIO_PIN_5, GPIO_PIN_SET);

    GPIO_InitStructPrivate.Mode = GPIO_MODE_IT_RISING;
    GPIO_InitStructPrivate.Pull = GPIO_PULLDOWN;
    HAL_GPIO_Init(GPIOB, &GPIO_InitStructPrivate);
    previousTick = currentTick;
}
/* USER CODE END 4 */

void Error_Handler(void)
{
  __disable_irq();
  while (1)
  {
  }
}
